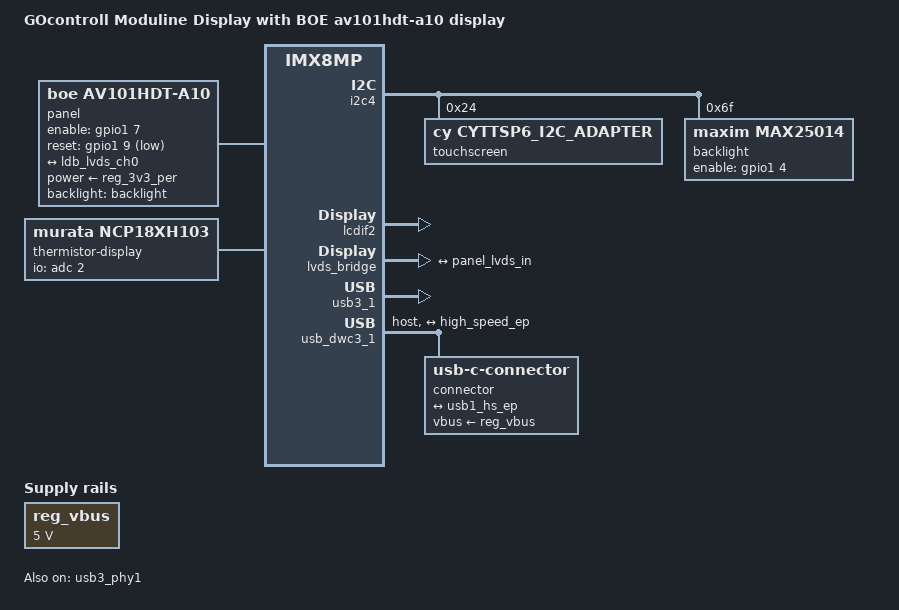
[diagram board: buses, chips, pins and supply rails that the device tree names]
// SPDX-License-Identifier: (GPL-2.0 OR MIT)
/*
 * Copyright 2025 GOcontroll B.V.
 * Author: Maud Spierings <maudspierings@gocontroll.com>
 */

/dts-v1/;

#include "imx8mp-tx8p-ml81-moduline-display-106.dtsi"

/ {
	model = "GOcontroll Moduline Display with BOE av101hdt-a10 display";

	panel {
		compatible = "boe,av101hdt-a10";
		backlight = <&backlight>;
		pinctrl-names = "default";
		pinctrl-0 = <&pinctrl_panel>;
		enable-gpios = <&gpio1 7 GPIO_ACTIVE_HIGH>;
		reset-gpios = <&gpio1 9 GPIO_ACTIVE_LOW>;
		power-supply = <&reg_3v3_per>;

		port {
			panel_lvds_in: endpoint {
				remote-endpoint = <&ldb_lvds_ch0>;
			};
		};
	};

	reg_vbus: regulator-vbus {
		compatible = "regulator-fixed";
		regulator-name = "usb-c-vbus";
		regulator-min-microvolt = <5000000>;
		regulator-max-microvolt = <5000000>;
		power-supply = <&reg_6v4>;
		regulator-always-on;
	};

	thermistor-display {
		compatible = "murata,ncp18xh103";
		io-channels = <&adc 2>;
		pullup-uv = <3300000>;
		pullup-ohm = <10000>;
		pulldown-ohm = <0>;
	};
};

&adc {
	#io-channel-cells = <1>;
};

&i2c4 {
	touchscreen@24 {
		compatible = "cy,cyttsp6_i2c_adapter";
		reg = <0x24>;
		pinctrl-names = "default";
		pinctrl-0 = <&pinctrl_touch>;

		cy,core {
			cy,irq_gpio = <&gpio4 14 GPIO_ACTIVE_LOW>;
			cy,rst_gpio = <&gpio4 13 GPIO_ACTIVE_LOW>;
			cy,err_gpio = <&gpio1 5 GPIO_ACTIVE_LOW>;
			
			/* Enable cy,max_xfer_len to limit max I2C/SPI transfer length */
			cy,max_xfer_len = <256>;
			
			cy,mt {
				cy,inp_dev_name = "cyttsp6_mt";
				/* CY_MT_FLAG_FLIP | CY_MT_FLAG_INV_X | CY_MT_FLAG_INV_Y */
				/* cy,flags = <0x38>;*/
				cy,abs =
				/* ABS_MT_POSITION_X, CY_ABS_MIN_X, CY_ABS_MAX_X, 0, 0 */
				<0x35 0 1280 0 0
				/* ABS_MT_POSITION_Y, CY_ABS_MIN_Y, CY_ABS_MAX_Y, 0, 0 */
				0x36 0 720 0 0
				/* ABS_MT_PRESSURE, CY_ABS_MIN_P, CY_ABS_MAX_P, 0, 0 */
				0x3a 0 255 0 0
				/* CY_IGNORE_VALUE, CY_ABS_MIN_W, CY_ABS_MAX_W, 0, 0 */
				0xffff 0 255 0 0
				/* ABS_MT_TRACKING_ID, CY_ABS_MIN_T, CY_ABS_MAX_T, 0, 0 */
				0x39 0 15 0 0
				/* ABS_MT_TOUCH_MAJOR, 0, 255, 0, 0 */
				0x30 0 255 0 0
				/* ABS_MT_TOUCH_MINOR, 0, 255, 0, 0 */
				0x31 0 255 0 0
				/* ABS_MT_ORIENTATION, -127, 127, 0, 0 */
				0x34 0xffffff81 127 0 0
				/* ABS_MT_TOOL_TYPE, 0, MT_TOOL_MAX, 0, 0 */
				0x37 0 1 0 0
				/* ABS_DISTANCE, 0, 255, 0, 0 */
				0x19 0 255 0 0>;
			};
		};
	};

	backlight: backlight@6f {
		reg = <0x6f>;
		compatible = "maxim,max25014";
		bl-name = "max25014";
		default-brightness = <50>;
		pinctrl-names = "default";
		pinctrl-0 = <&pinctrl_backlight>;
		enable-gpios = <&gpio1 4 GPIO_ACTIVE_HIGH>;
		maxim,iset = <7>;
		maxim,strings = <1 1 1 0>;
	};
};

&lcdif2 {
	status = "okay";
};

&lvds_bridge {
	assigned-clocks = <&clk IMX8MP_CLK_MEDIA_LDB>,
	<&clk IMX8MP_VIDEO_PLL1>;
	assigned-clock-parents = <&clk IMX8MP_VIDEO_PLL1_OUT>;
	/* IMX8MP_VIDEO_PLL1 = IMX8MP_CLK_MEDIA_DISP2_PIX * 2 * 7 */
	assigned-clock-rates = <0>, <1054620000>;
	status = "okay";
	
	ports {
		port@1 {
			ldb_lvds_ch0: endpoint {
				remote-endpoint = <&panel_lvds_in>;
			};
		};
	};
};

&usb3_1 {
	status = "okay";
};

&usb3_phy1 {
	status = "okay";
};

&usb_dwc3_1 {
	dr_mode = "host";

	port {
		usb1_hs_ep: endpoint {
			remote-endpoint = <&high_speed_ep>;
		};
	};

	connector {
		compatible = "usb-c-connector";
		pd-disable;
		data-role = "host";
		vbus-supply = <&reg_vbus>;

		port {
			high_speed_ep: endpoint {
				remote-endpoint = <&usb1_hs_ep>;
			};
		};
	};
};

&iomuxc {
	pinctrl_backlight: backlightgrp {
		fsl,pins = <
			MX8MP_IOMUXC_GPIO1_IO04__GPIO1_IO04 /* COM pin 154 */
			(MX8MP_PULL_UP | MX8MP_PULL_ENABLE)
		>;
	};

	pinctrl_panel: panelgrp {
		fsl,pins = <
			MX8MP_IOMUXC_GPIO1_IO07__GPIO1_IO07 /* COM pin 157 */
			MX8MP_DSE_X1
			MX8MP_IOMUXC_GPIO1_IO09__GPIO1_IO09 /* COM pin 159 */
			MX8MP_DSE_X1
		>;
	};

	pinctrl_touch: touchgrp {
		fsl,pins = <
			MX8MP_IOMUXC_GPIO1_IO05__GPIO1_IO05 /* COM pin 155 */
			(MX8MP_PULL_UP | MX8MP_PULL_ENABLE | MX8MP_HYS_SCHMITT)	
			MX8MP_IOMUXC_SAI1_TXD2__GPIO4_IO14 /* COM pin 113 */
			(MX8MP_PULL_UP | MX8MP_PULL_ENABLE | MX8MP_HYS_SCHMITT)
			MX8MP_IOMUXC_SAI1_TXD1__GPIO4_IO13 /* COM pin 114 */
			MX8MP_DSE_X1
		>;
	};
};
